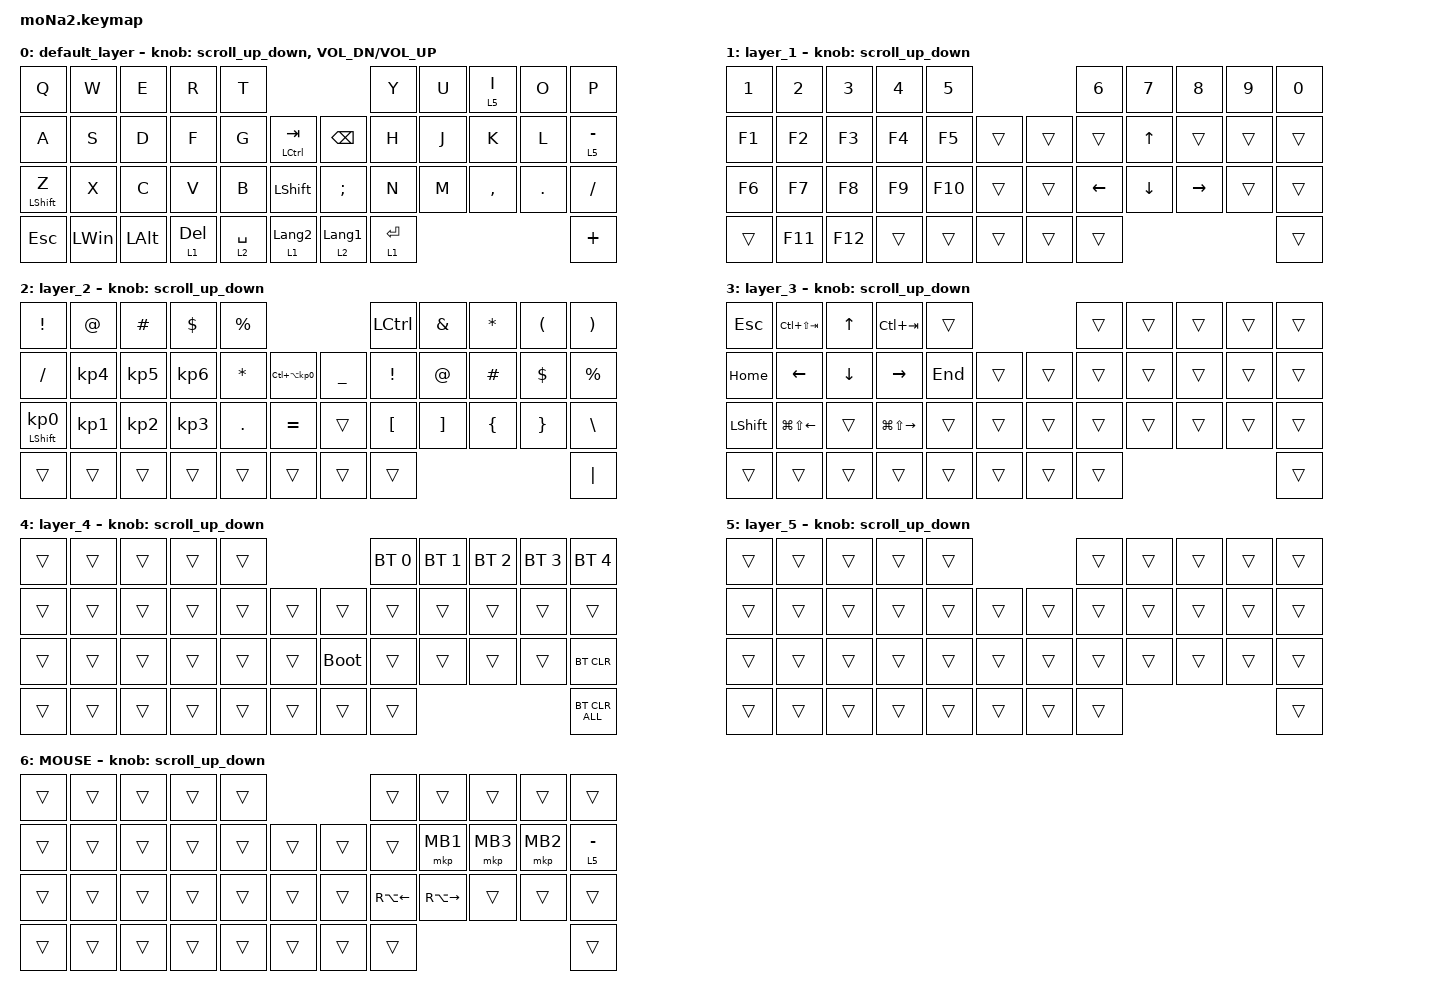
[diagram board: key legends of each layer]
#include <behaviors.dtsi>
#include <dt-bindings/zmk/bt.h>
#include <dt-bindings/zmk/keys.h>
#include <dt-bindings/zmk/pointing.h>
#include <dt-bindings/zmk/pointing.h>

#define ZMK_POINTING_DEFAULT_SCRL_VAL 100
#define MOUSE 6

&mt {
    flavor = "balanced";
    quick-tap-ms = <0>;
};

/ {
    combos { compatible = "zmk,combos"; };

    macros {
        to_layer_0: to_layer_0 {
            compatible = "zmk,behavior-macro-one-param";
            #binding-cells = <1>;
            bindings = <&to 0 &macro_param_1to1 &kp MACRO_PLACEHOLDER>;
            label = "TO_LAYER_0";
        };
    };

    behaviors {
        lt_to_layer_0: lt_to_layer_0 {
            compatible = "zmk,behavior-hold-tap";
            label = "LAYER_TAP_TO_0";
            bindings = <&mo>, <&to_layer_0>;

            #binding-cells = <2>;
            tapping-term-ms = <200>;
        };

        scroll_up_down: behavior_sensor_rotate_mouse_wheel_up_down {
            compatible = "zmk,behavior-sensor-rotate";
            #sensor-binding-cells = <0>;
            bindings = <&msc SCRL_UP>, <&msc SCRL_DOWN>;

            tap-ms = <20>;
        };
    };

    keymap {
        compatible = "zmk,keymap";

        default_layer {
            bindings = <
&kp Q             &kp W         &kp E         &kp R         &kp T                                              &kp Y        &kp U  &lt 5 I    &kp O    &kp P
&kp A             &kp S         &kp D         &kp F         &kp G        &mt LCTRL TAB       &kp BACKSPACE     &kp H        &kp J  &kp K      &kp L    &lt 5 MINUS
&mt LEFT_SHIFT Z  &kp X         &kp C         &kp V         &kp B        &kp LEFT_SHIFT      &kp SEMICOLON     &kp N        &kp M  &kp COMMA  &kp DOT  &kp SLASH
&kp ESC           &kp LEFT_WIN  &kp LEFT_ALT  &lt 1 DELETE  &lt 2 SPACE  &lt 1 LANGUAGE_2    &lt 2 LANGUAGE_1  &lt 1 ENTER                             &kp PLUS
            >;

            sensor-bindings =
                <&scroll_up_down>,
                <&inc_dec_kp C_VOL_DN C_VOL_UP>;
        };

        layer_1 {
            bindings = <
&kp N1  &kp N2   &kp N3   &kp N4  &kp N5                     &kp N6    &kp N7    &kp N8     &kp N9  &kp N0
&kp F1  &kp F2   &kp F3   &kp F4  &kp F5   &trans    &trans  &trans    &kp UP    &trans     &trans  &trans
&kp F6  &kp F7   &kp F8   &kp F9  &kp F10  &trans    &trans  &kp LEFT  &kp DOWN  &kp RIGHT  &trans  &trans
&trans  &kp F11  &kp F12  &trans  &trans   &trans    &trans  &trans                                 &trans
            >;

            sensor-bindings = <&scroll_up_down>;
        };

        layer_2 {
            bindings = <
&kp EXCLAMATION             &kp AT_SIGN      &kp HASH         &kp DOLLAR       &kp PERCENT                                              &kp LCTRL         &kp AMPERSAND      &kp ASTERISK    &kp LEFT_PARENTHESIS  &kp RIGHT_PARENTHESIS
&kp SLASH                   &kp KP_NUMBER_4  &kp KP_NUMBER_5  &kp KP_NUMBER_6  &kp ASTERISK  &kp LC(LA(KP_NUMBER_0))    &kp UNDERSCORE  &kp EXCLAMATION   &kp AT_SIGN        &kp HASH        &kp DOLLAR            &kp PERCENT
&mt LEFT_SHIFT KP_NUMBER_0  &kp KP_NUMBER_1  &kp KP_NUMBER_2  &kp KP_NUMBER_3  &kp PERIOD    &kp EQUAL                  &trans          &kp LEFT_BRACKET  &kp RIGHT_BRACKET  &kp LEFT_BRACE  &kp RIGHT_BRACE       &kp BACKSLASH
&trans                      &trans           &trans           &trans           &trans        &trans                     &trans          &trans                                                                     &kp PIPE
            >;

            sensor-bindings = <&scroll_up_down>;
        };

        layer_3 {
            bindings = <
&kp ESCAPE      &kp LC(LS(TAB))         &kp UP_ARROW    &kp LC(TAB)              &trans                     &trans  &trans  &trans  &trans  &trans
&kp HOME        &kp LEFT_ARROW          &kp DOWN_ARROW  &kp RIGHT_ARROW          &kp END  &trans    &trans  &trans  &trans  &trans  &trans  &trans
&kp LEFT_SHIFT  &kp LG(LS(LEFT_ARROW))  &trans          &kp LG(LS(RIGHT_ARROW))  &trans   &trans    &trans  &trans  &trans  &trans  &trans  &trans
&trans          &trans                  &trans          &trans                   &trans   &trans    &trans  &trans                          &trans
            >;

            sensor-bindings = <&scroll_up_down>;
        };

        layer_4 {
            bindings = <
&trans  &trans  &trans  &trans  &trans                         &bt BT_SEL 0  &bt BT_SEL 1  &bt BT_SEL 2  &bt BT_SEL 3  &bt BT_SEL 4
&trans  &trans  &trans  &trans  &trans  &trans    &trans       &trans        &trans        &trans        &trans        &trans
&trans  &trans  &trans  &trans  &trans  &trans    &bootloader  &trans        &trans        &trans        &trans        &bt BT_CLR
&trans  &trans  &trans  &trans  &trans  &trans    &trans       &trans                                                  &bt BT_CLR_ALL
            >;

            sensor-bindings = <&scroll_up_down>;
        };

        layer_5 {
            bindings = <
&trans  &trans  &trans  &trans  &trans                    &trans  &trans  &trans  &trans  &trans
&trans  &trans  &trans  &trans  &trans  &trans    &trans  &trans  &trans  &trans  &trans  &trans
&trans  &trans  &trans  &trans  &trans  &trans    &trans  &trans  &trans  &trans  &trans  &trans
&trans  &trans  &trans  &trans  &trans  &trans    &trans  &trans                          &trans
            >;

            sensor-bindings = <&scroll_up_down>;
        };

        MOUSE {
            bindings = <
&trans  &trans  &trans  &trans  &trans                    &trans        &trans         &trans    &trans    &trans
&trans  &trans  &trans  &trans  &trans  &trans    &trans  &trans        &mkp MB1       &mkp MB3  &mkp MB2  &lt 5 MINUS
&trans  &trans  &trans  &trans  &trans  &trans    &trans  &kp RA(LEFT)  &kp RA(RIGHT)  &trans    &trans    &trans
&trans  &trans  &trans  &trans  &trans  &trans    &trans  &trans                                           &trans
            >;

            sensor-bindings = <&scroll_up_down>;
        };
    };
};
